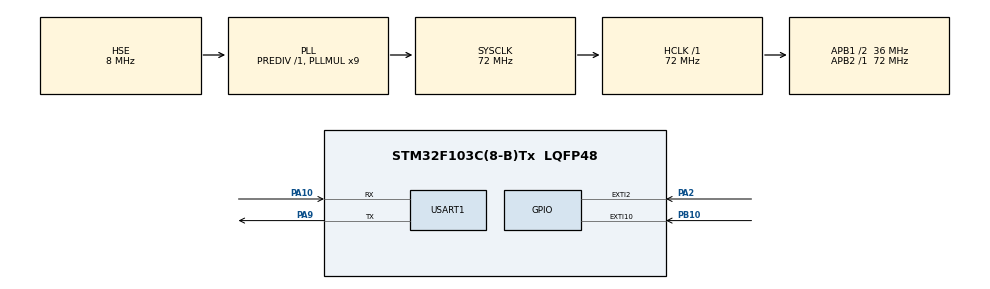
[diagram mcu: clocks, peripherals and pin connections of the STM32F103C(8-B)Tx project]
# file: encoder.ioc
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Mcu.Family=STM32F1
Mcu.Name=STM32F103C(8-B)Tx
Mcu.Package=LQFP48
NVIC.EXTI15_10_IRQn=true\:0\:0\:false\:false\:true\:true\:true
NVIC.EXTI2_IRQn=true\:0\:0\:false\:false\:true\:true\:true
NVIC.PriorityGroup=NVIC_PRIORITYGROUP_4
PA10.Mode=Asynchronous
PA10.Signal=USART1_RX
PA13.Mode=Serial_Wire
PA13.Signal=SYS_JTMS-SWDIO
PA14.Mode=Serial_Wire
PA14.Signal=SYS_JTCK-SWCLK
PA2.Signal=GPXTI2
PA9.Mode=Asynchronous
PA9.Signal=USART1_TX
PB10.Signal=GPXTI10
PD0-OSC_IN.Mode=HSE-External-Oscillator
PD0-OSC_IN.Signal=RCC_OSC_IN
PD1-OSC_OUT.Mode=HSE-External-Oscillator
PD1-OSC_OUT.Signal=RCC_OSC_OUT
ProjectManager.HeapSize=0x200
ProjectManager.StackSize=0x400
ProjectManager.TargetToolchain=STM32CubeIDE
RCC.AHBFreq_Value=72000000
RCC.APB1CLKDivider=RCC_HCLK_DIV2
RCC.APB1Freq_Value=36000000
RCC.APB1TimFreq_Value=72000000
RCC.APB2Freq_Value=72000000
RCC.APB2TimFreq_Value=72000000
RCC.HCLKFreq_Value=72000000
RCC.PLLMUL=RCC_PLL_MUL9
RCC.PLLSourceVirtual=RCC_PLLSOURCE_HSE
RCC.SYSCLKFreq_VALUE=72000000
RCC.SYSCLKSource=RCC_SYSCLKSOURCE_PLLCLK
RCC.USBFreq_Value=72000000
USART1.VirtualMode=VM_ASYNC
board=custom

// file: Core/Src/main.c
/* USER CODE BEGIN Header */
/**
  ******************************************************************************
  * @file           : main.c
  * @brief          : Main program body
  ******************************************************************************
  * @attention
  *
  * Copyright (c) 2023 STMicroelectronics.
  * All rights reserved.
  *
  * This software is licensed under terms that can be found in the LICENSE file
  * in the root directory of this software component.
  * If no LICENSE file comes with this software, it is provided AS-IS.
  *
  ******************************************************************************
  */
/* USER CODE END Header */
#include "main.h"
#include "stm32f1xx_it.h"
#include "string.h"
/* USER CODE BEGIN Includes */
volatile uint32_t tim1_cnt=0,direction,rise=0;
char MSG[50] = {'\0'};
/* USER CODE END Includes */

/* USER CODE BEGIN PTD */
volatile int MSB, LSB, encoded;
volatile char* Current_Dir = "";
volatile int lastEncoded = 0;
volatile long encoderValue = 0;
volatile long EncoderRatio_encoder = 0;
volatile long GearRatio_encoder = 0;
int EncoderRatio = 1600;

long lastencoderValue = 0;

int lastMSB = 0;
int lastLSB = 0;
/* USER CODE END PTD */

UART_HandleTypeDef huart1;

void SystemClock_Config(void);
static void MX_GPIO_Init(void);
static void MX_USART1_UART_Init(void);
/* USER CODE BEGIN PFP */
void updateEncoder(void);
/* USER CODE END PFP */

int main(void)
{

  /* MCU Configuration--------------------------------------------------------*/

  /* Reset of all peripherals, Initializes the Flash interface and the Systick. */
  HAL_Init();

  /* Configure the system clock */
  SystemClock_Config();

  /* Initialize all configured peripherals */
  MX_GPIO_Init();
  MX_USART1_UART_Init();
  /* USER CODE BEGIN 2 */

  HAL_UART_Transmit(&huart1, "hello", 100, 1000);
  /* USER CODE END 2 */

  /* Infinite loop */
  while (1)
  {
	  HAL_Delay(10);
	   sprintf(MSG, "Ticks = %ld,  direction=%s\r\n", (long)encoderValue,Current_Dir);
	     HAL_UART_Transmit(&huart1, MSG, strlen((char*)MSG), 1000);

  }
}

void SystemClock_Config(void)
{
  RCC_OscInitTypeDef RCC_OscInitStruct = {0};
  RCC_ClkInitTypeDef RCC_ClkInitStruct = {0};

  /** Initializes the RCC Oscillators according to the specified parameters
  * in the RCC_OscInitTypeDef structure.
  */
  RCC_OscInitStruct.OscillatorType = RCC_OSCILLATORTYPE_HSE;
  RCC_OscInitStruct.HSEState = RCC_HSE_ON;
  RCC_OscInitStruct.HSEPredivValue = RCC_HSE_PREDIV_DIV1;
  RCC_OscInitStruct.HSIState = RCC_HSI_ON;
  RCC_OscInitStruct.PLL.PLLState = RCC_PLL_ON;
  RCC_OscInitStruct.PLL.PLLSource = RCC_PLLSOURCE_HSE;
  RCC_OscInitStruct.PLL.PLLMUL = RCC_PLL_MUL9;
  if (HAL_RCC_OscConfig(&RCC_OscInitStruct) != HAL_OK)
  {
    Error_Handler();
  }
  /** Initializes the CPU, AHB and APB buses clocks
  */
  RCC_ClkInitStruct.ClockType = RCC_CLOCKTYPE_HCLK|RCC_CLOCKTYPE_SYSCLK
                              |RCC_CLOCKTYPE_PCLK1|RCC_CLOCKTYPE_PCLK2;
  RCC_ClkInitStruct.SYSCLKSource = RCC_SYSCLKSOURCE_PLLCLK;
  RCC_ClkInitStruct.AHBCLKDivider = RCC_SYSCLK_DIV1;
  RCC_ClkInitStruct.APB1CLKDivider = RCC_HCLK_DIV2;
  RCC_ClkInitStruct.APB2CLKDivider = RCC_HCLK_DIV1;

  if (HAL_RCC_ClockConfig(&RCC_ClkInitStruct, FLASH_LATENCY_2) != HAL_OK)
  {
    Error_Handler();
  }
}
void updateEncoder(void)
{

//    MSB = HAL_GPIO_ReadPin(GPIOA, GPIO_PIN_2);
//    LSB = HAL_GPIO_ReadPin(GPIOB, GPIO_PIN_10);
    encoded = (MSB << 1) | LSB;
    int sum = (lastEncoded << 2) | encoded;

    if (sum == 0b1101 || sum == 0b0100 || sum == 0b0010 || sum == 0b1011)
    {
        encoderValue++;
        Current_Dir = "CCW";
    }
   if (sum == 0b1110 || sum == 0b0111 || sum == 0b0001 || sum == 0b1000)
    {
        encoderValue--;
        Current_Dir = "CW";
    }

    lastEncoded = encoded;
    EncoderRatio_encoder = encoderValue / EncoderRatio;

}

void EXTI2_IRQHandler(void)
{
  /* USER CODE BEGIN EXTI2_IRQn 0 */
	 MSB = HAL_GPIO_ReadPin(GPIOA, GPIO_PIN_2);
	   LSB = HAL_GPIO_ReadPin(GPIOB, GPIO_PIN_10);
	updateEncoder();
  /* USER CODE END EXTI2_IRQn 0 */
  HAL_GPIO_EXTI_IRQHandler(GPIO_PIN_2);
}

/**
  * @brief This function handles EXTI line[15:10] interrupts.
  */
void EXTI15_10_IRQHandler(void)
{
  /* USER CODE BEGIN EXTI15_10_IRQn 0 */
	 MSB = HAL_GPIO_ReadPin(GPIOA, GPIO_PIN_2);
	   LSB = HAL_GPIO_ReadPin(GPIOB, GPIO_PIN_10);
    updateEncoder();

  /* USER CODE END EXTI15_10_IRQn 0 */
  HAL_GPIO_EXTI_IRQHandler(GPIO_PIN_10);
}
static void MX_USART1_UART_Init(void)
{

  huart1.Instance = USART1;
  huart1.Init.BaudRate = 115200;
  huart1.Init.WordLength = UART_WORDLENGTH_8B;
  huart1.Init.StopBits = UART_STOPBITS_1;
  huart1.Init.Parity = UART_PARITY_NONE;
  huart1.Init.Mode = UART_MODE_TX_RX;
  huart1.Init.HwFlowCtl = UART_HWCONTROL_NONE;
  huart1.Init.OverSampling = UART_OVERSAMPLING_16;
  if (HAL_UART_Init(&huart1) != HAL_OK)
  {
    Error_Handler();
  }

}

static void MX_GPIO_Init(void)
{
  GPIO_InitTypeDef GPIO_InitStruct = {0};

  /* GPIO Ports Clock Enable */
  __HAL_RCC_GPIOD_CLK_ENABLE();
  __HAL_RCC_GPIOA_CLK_ENABLE();
  __HAL_RCC_GPIOB_CLK_ENABLE();

  /*Configure GPIO pin : PA2 */
  GPIO_InitStruct.Pin = GPIO_PIN_2;
  GPIO_InitStruct.Mode = GPIO_MODE_IT_RISING;
  GPIO_InitStruct.Pull = GPIO_NOPULL;
  HAL_GPIO_Init(GPIOA, &GPIO_InitStruct);

  /*Configure GPIO pin : PB10 */
  GPIO_InitStruct.Pin = GPIO_PIN_10;
  GPIO_InitStruct.Mode = GPIO_MODE_IT_RISING;
  GPIO_InitStruct.Pull = GPIO_NOPULL;
  HAL_GPIO_Init(GPIOB, &GPIO_InitStruct);

  /* EXTI interrupt init*/
  //HAL_NVIC_SetPriority(EXTI2_IRQn, 0, 0);
  HAL_NVIC_EnableIRQ(EXTI2_IRQn);

//  HAL_NVIC_SetPriority(EXTI15_10_IRQn, 0, 0);
  HAL_NVIC_EnableIRQ(EXTI15_10_IRQn);

}

void Error_Handler(void)
{
  __disable_irq();
  while (1)
  {
  }
}
